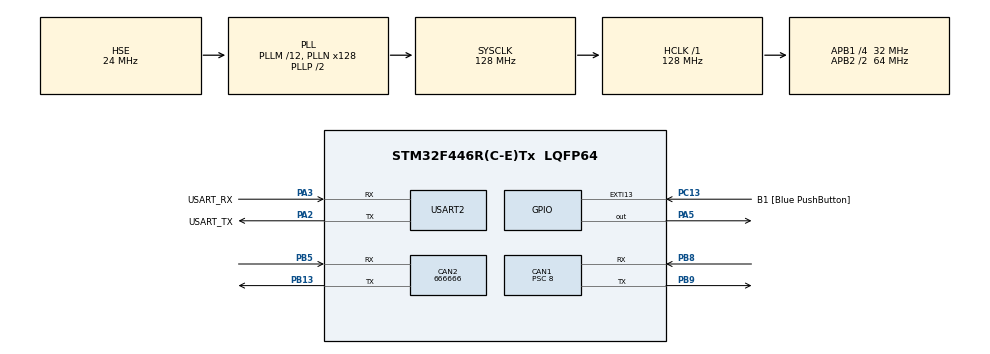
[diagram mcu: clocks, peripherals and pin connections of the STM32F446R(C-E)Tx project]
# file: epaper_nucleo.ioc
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CAN1.BS1=CAN_BS1_6TQ
CAN1.CalculateBaudRate=500000
CAN1.CalculateTimeBit=2000
CAN1.CalculateTimeQuantum=250.0
CAN1.Prescaler=8
CAN2.CalculateBaudRate=666666
CAN2.CalculateTimeBit=1500
CAN2.CalculateTimeQuantum=500.0
FREERTOS.Tasks01=epaperTask,0,1024,startEpaperTask,Default,NULL,Static,epaperTaskBuffer,epaperTaskControlBlock;idleTask,-3,128,StartIdleTask,Default,NULL,Static,idleTaskBuffer,idleTaskControlBlock;serviceGcan,0,1024,StartServiceGcan,Default,NULL,Static,serviceGcanBuffer,serviceGcanControlBlock
Mcu.Family=STM32F4
Mcu.Name=STM32F446R(C-E)Tx
Mcu.Package=LQFP64
NVIC.PriorityGroup=NVIC_PRIORITYGROUP_4
NVIC.TIM6_DAC_IRQn=true\:15\:0\:false\:false\:true\:false\:false\:true\:true
NVIC.TimeBase=TIM6_DAC_IRQn
NVIC.TimeBaseIP=TIM6
PA13.GPIO_Label=TMS
PA13.Mode=Serial_Wire
PA13.Signal=SYS_JTMS-SWDIO
PA14.GPIO_Label=TCK
PA14.Mode=Serial_Wire
PA14.Signal=SYS_JTCK-SWCLK
PA2.GPIO_Label=USART_TX
PA2.Mode=Asynchronous
PA2.Signal=USART2_TX
PA3.GPIO_Label=USART_RX
PA3.Mode=Asynchronous
PA3.Signal=USART2_RX
PA5.Signal=GPIO_Output
PB13.Mode=CAN_Activate
PB13.Signal=CAN2_TX
PB3.GPIO_Label=SWO
PB3.Signal=SYS_JTDO-SWO
PB5.Mode=CAN_Activate
PB5.Signal=CAN2_RX
PB8.Mode=CAN_Activate
PB8.Signal=CAN1_RX
PB9.Mode=CAN_Activate
PB9.Signal=CAN1_TX
PC13.GPIO_Label=B1 [Blue PushButton]
PC13.GPIO_ModeDefaultEXTI=GPIO_MODE_IT_FALLING
PC13.Signal=GPXTI13
PC14-OSC32_IN.Mode=LSE-External-Oscillator
PC14-OSC32_IN.Signal=RCC_OSC32_IN
PC15-OSC32_OUT.Mode=LSE-External-Oscillator
PC15-OSC32_OUT.Signal=RCC_OSC32_OUT
PH0-OSC_IN.Mode=HSE-External-Oscillator
PH0-OSC_IN.Signal=RCC_OSC_IN
PH1-OSC_OUT.Mode=HSE-External-Oscillator
PH1-OSC_OUT.Signal=RCC_OSC_OUT
ProjectManager.HeapSize=0x200
ProjectManager.StackSize=0x400
ProjectManager.TargetToolchain=CMake
RCC.48MHZClocksFreq_Value=84000000
RCC.AHBFreq_Value=128000000
RCC.APB1CLKDivider=RCC_HCLK_DIV4
RCC.APB1Freq_Value=32000000
RCC.APB1TimFreq_Value=64000000
RCC.APB2CLKDivider=RCC_HCLK_DIV2
RCC.APB2Freq_Value=64000000
RCC.APB2TimFreq_Value=128000000
RCC.CortexFreq_Value=128000000
RCC.FLatency-AdvancedSettings=FLASH_LATENCY_4
RCC.HCLKFreq_Value=128000000
RCC.HSE_VALUE=24000000
RCC.HSI_VALUE=16000000
RCC.PLLM=12
RCC.PLLN=128
RCC.PLLSourceVirtual=RCC_PLLSOURCE_HSE
RCC.SYSCLKFreq_VALUE=128000000
RCC.SYSCLKSource=RCC_SYSCLKSOURCE_PLLCLK
RCC.USBFreq_Value=128000000
RCC.VCOOutputFreq_Value=256000000
USART2.VirtualMode=VM_ASYNC
VP_FREERTOS_VS_CMSIS_V1.Mode=CMSIS_V1
VP_SYS_VS_tim6.Mode=TIM6
board=NUCLEO-F446RE

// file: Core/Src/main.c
/* USER CODE BEGIN Header */
/**
  ******************************************************************************
  * @file           : main.c
  * @brief          : Main program body
  ******************************************************************************
  * @attention
  *
  * Copyright (c) 2025 STMicroelectronics.
  * All rights reserved.
  *
  * This software is licensed under terms that can be found in the LICENSE file
  * in the root directory of this software component.
  * If no LICENSE file comes with this software, it is provided AS-IS.
  *
  ******************************************************************************
  */
/* USER CODE END Header */
#include "main.h"
#include "cmsis_os.h"

/* USER CODE BEGIN Includes */
#include "utils.h"
#include "epaper.h"
#include <stdio.h>
#include "GopherCAN.h"

/* USER CODE END Includes */

CAN_HandleTypeDef hcan1;
CAN_HandleTypeDef hcan2;

UART_HandleTypeDef huart2;

osThreadId epaperTaskHandle;
uint32_t epaperTaskBuffer[ 1024 ];
osStaticThreadDef_t epaperTaskControlBlock;
osThreadId idleTaskHandle;
uint32_t idleTaskBuffer[ 128 ];
osStaticThreadDef_t idleTaskControlBlock;
osThreadId serviceGcanHandle;
uint32_t serviceGcanBuffer[ 1024 ];
osStaticThreadDef_t serviceGcanControlBlock;

void SystemClock_Config(void);
static void MX_GPIO_Init(void);
static void MX_USART2_UART_Init(void);
static void MX_CAN2_Init(void);
static void MX_CAN1_Init(void);
void startEpaperTask(void const * argument);
void StartIdleTask(void const * argument);
void StartServiceGcan(void const * argument);

/* USER CODE BEGIN PFP */
// void HAL_SPI_TxCpltCallback(SPI_HandleTypeDef *hspi)
// {
// 	if (hspi == &hspi1)
// 	{
// 		BaseType_t xHigherPriorityTaskWoken = pdFALSE;
// 		xTaskNotifyFromISR(epaperTaskHandle, SPI_SUCCESS, eSetBits, &xHigherPriorityTaskWoken);
// 		portYIELD_FROM_ISR(xHigherPriorityTaskWoken);
// 	}
// }

#ifdef __GNUC__
#define PUTCHAR_PROTOTYPE int __io_putchar(int ch)
#define GETCHAR_PROTOTYPE int __io_getchar(void)
#else
#define PUTCHAR_PROTOTYPE int fputc(int ch, FILE *f)
#define GETCHAR_PROTOTYPE int fgetc(FILE *f)
#endif

PUTCHAR_PROTOTYPE
{
  HAL_UART_Transmit(&huart2, (uint8_t *)&ch, 1, HAL_MAX_DELAY);
  return ch;
}

GETCHAR_PROTOTYPE
{
  uint8_t ch = 0;

  /* Clear the Overrun flag just before receiving the first character */
  __HAL_UART_CLEAR_OREFLAG(&huart2);

  /* Wait for reception of a character on the USART RX line and echo this
   * character on console */
  HAL_UART_Receive(&huart2, (uint8_t *)&ch, 1, HAL_MAX_DELAY);
  HAL_UART_Transmit(&huart2, (uint8_t *)&ch, 1, HAL_MAX_DELAY);
  return ch;
}

/* USER CODE END PFP */

int main(void)
{

  /* MCU Configuration--------------------------------------------------------*/

  /* Reset of all peripherals, Initializes the Flash interface and the Systick. */
  HAL_Init();

  /* Configure the system clock */
  SystemClock_Config();

  /* USER CODE BEGIN SysInit */
__HAL_RCC_GPIOA_CLK_ENABLE();
GPIO_InitTypeDef g = {0};
g.Pin = GPIO_PIN_5; g.Mode = GPIO_MODE_OUTPUT_PP;
HAL_GPIO_Init(GPIOA, &g);
HAL_GPIO_WritePin(GPIOA, GPIO_PIN_5, GPIO_PIN_SET);
  /* USER CODE END SysInit */

  /* Initialize all configured peripherals */
  MX_GPIO_Init();
  MX_USART2_UART_Init();
  MX_CAN2_Init();
  MX_CAN1_Init();
  /* USER CODE BEGIN 2 */
  HAL_GPIO_WritePin(GPIOA, GPIO_PIN_5, GPIO_PIN_SET);   // LED on = CAN init finished
  init_can(&hcan1, GCAN1);

  /* USER CODE END 2 */

  /* Create the thread(s) */
  /* definition and creation of epaperTask */
  osThreadStaticDef(epaperTask, startEpaperTask, osPriorityNormal, 0, 1024, epaperTaskBuffer, &epaperTaskControlBlock);
  epaperTaskHandle = osThreadCreate(osThread(epaperTask), NULL);

  /* definition and creation of idleTask */
  osThreadStaticDef(idleTask, StartIdleTask, osPriorityIdle, 0, 128, idleTaskBuffer, &idleTaskControlBlock);
  idleTaskHandle = osThreadCreate(osThread(idleTask), NULL);

  /* definition and creation of serviceGcan */
  osThreadStaticDef(serviceGcan, StartServiceGcan, osPriorityNormal, 0, 1024, serviceGcanBuffer, &serviceGcanControlBlock);
  serviceGcanHandle = osThreadCreate(osThread(serviceGcan), NULL);

  /* Start scheduler */
  osKernelStart();

  /* We should never get here as control is now taken by the scheduler */

  /* Infinite loop */
  while (1)
  {

  }
}

void SystemClock_Config(void)
{
  RCC_OscInitTypeDef RCC_OscInitStruct = {0};
  RCC_ClkInitTypeDef RCC_ClkInitStruct = {0};

  /** Configure the main internal regulator output voltage
  */
  __HAL_RCC_PWR_CLK_ENABLE();
  __HAL_PWR_VOLTAGESCALING_CONFIG(PWR_REGULATOR_VOLTAGE_SCALE2);

  /** Initializes the RCC Oscillators according to the specified parameters
  * in the RCC_OscInitTypeDef structure.
  */
  RCC_OscInitStruct.OscillatorType = RCC_OSCILLATORTYPE_HSE;
  RCC_OscInitStruct.HSEState = RCC_HSE_ON;
  RCC_OscInitStruct.PLL.PLLState = RCC_PLL_ON;
  RCC_OscInitStruct.PLL.PLLSource = RCC_PLLSOURCE_HSE;
  RCC_OscInitStruct.PLL.PLLM = 12;
  RCC_OscInitStruct.PLL.PLLN = 128;
  RCC_OscInitStruct.PLL.PLLP = RCC_PLLP_DIV2;
  RCC_OscInitStruct.PLL.PLLQ = 2;
  RCC_OscInitStruct.PLL.PLLR = 2;
  if (HAL_RCC_OscConfig(&RCC_OscInitStruct) != HAL_OK)
  {
    Error_Handler();
  }

  /** Initializes the CPU, AHB and APB buses clocks
  */
  RCC_ClkInitStruct.ClockType = RCC_CLOCKTYPE_HCLK|RCC_CLOCKTYPE_SYSCLK
                              |RCC_CLOCKTYPE_PCLK1|RCC_CLOCKTYPE_PCLK2;
  RCC_ClkInitStruct.SYSCLKSource = RCC_SYSCLKSOURCE_PLLCLK;
  RCC_ClkInitStruct.AHBCLKDivider = RCC_SYSCLK_DIV1;
  RCC_ClkInitStruct.APB1CLKDivider = RCC_HCLK_DIV4;
  RCC_ClkInitStruct.APB2CLKDivider = RCC_HCLK_DIV2;

  if (HAL_RCC_ClockConfig(&RCC_ClkInitStruct, FLASH_LATENCY_4) != HAL_OK)
  {
    Error_Handler();
  }
}

static void MX_CAN1_Init(void)
{

  hcan1.Instance = CAN1;
  hcan1.Init.Prescaler = 8;
  hcan1.Init.Mode = CAN_MODE_NORMAL;
  hcan1.Init.SyncJumpWidth = CAN_SJW_1TQ;
  hcan1.Init.TimeSeg1 = CAN_BS1_6TQ;
  hcan1.Init.TimeSeg2 = CAN_BS2_1TQ;
  hcan1.Init.TimeTriggeredMode = DISABLE;
  hcan1.Init.AutoBusOff = DISABLE;
  hcan1.Init.AutoWakeUp = DISABLE;
  hcan1.Init.AutoRetransmission = DISABLE;
  hcan1.Init.ReceiveFifoLocked = DISABLE;
  hcan1.Init.TransmitFifoPriority = DISABLE;
  if (HAL_CAN_Init(&hcan1) != HAL_OK)
  {
    Error_Handler();
  }

}

static void MX_CAN2_Init(void)
{

  hcan2.Instance = CAN2;
  hcan2.Init.Prescaler = 16;
  hcan2.Init.Mode = CAN_MODE_NORMAL;
  hcan2.Init.SyncJumpWidth = CAN_SJW_1TQ;
  hcan2.Init.TimeSeg1 = CAN_BS1_1TQ;
  hcan2.Init.TimeSeg2 = CAN_BS2_1TQ;
  hcan2.Init.TimeTriggeredMode = DISABLE;
  hcan2.Init.AutoBusOff = DISABLE;
  hcan2.Init.AutoWakeUp = DISABLE;
  hcan2.Init.AutoRetransmission = DISABLE;
  hcan2.Init.ReceiveFifoLocked = DISABLE;
  hcan2.Init.TransmitFifoPriority = DISABLE;
  if (HAL_CAN_Init(&hcan2) != HAL_OK)
  {
    Error_Handler();
  }

}

static void MX_USART2_UART_Init(void)
{

  huart2.Instance = USART2;
  huart2.Init.BaudRate = 115200;
  huart2.Init.WordLength = UART_WORDLENGTH_8B;
  huart2.Init.StopBits = UART_STOPBITS_1;
  huart2.Init.Parity = UART_PARITY_NONE;
  huart2.Init.Mode = UART_MODE_TX_RX;
  huart2.Init.HwFlowCtl = UART_HWCONTROL_NONE;
  huart2.Init.OverSampling = UART_OVERSAMPLING_16;
  if (HAL_UART_Init(&huart2) != HAL_OK)
  {
    Error_Handler();
  }

}

static void MX_GPIO_Init(void)
{
  GPIO_InitTypeDef GPIO_InitStruct = {0};

  /* GPIO Ports Clock Enable */
  __HAL_RCC_GPIOC_CLK_ENABLE();
  __HAL_RCC_GPIOH_CLK_ENABLE();
  __HAL_RCC_GPIOA_CLK_ENABLE();
  __HAL_RCC_GPIOB_CLK_ENABLE();

  /*Configure GPIO pin Output Level */
  HAL_GPIO_WritePin(GPIOA, GPIO_PIN_5, GPIO_PIN_RESET);

  /*Configure GPIO pin : B1_Pin */
  GPIO_InitStruct.Pin = B1_Pin;
  GPIO_InitStruct.Mode = GPIO_MODE_IT_FALLING;
  GPIO_InitStruct.Pull = GPIO_NOPULL;
  HAL_GPIO_Init(B1_GPIO_Port, &GPIO_InitStruct);

  /*Configure GPIO pin : PA5 */
  GPIO_InitStruct.Pin = GPIO_PIN_5;
  GPIO_InitStruct.Mode = GPIO_MODE_OUTPUT_PP;
  GPIO_InitStruct.Pull = GPIO_NOPULL;
  GPIO_InitStruct.Speed = GPIO_SPEED_FREQ_LOW;
  HAL_GPIO_Init(GPIOA, &GPIO_InitStruct);

}

void startEpaperTask(void const * argument)
{
  /* USER CODE BEGIN 5 */
  // EPD_Init();
  // //osDelay(500);

  // EPD_TestPattern();
  // runEpaperTask();
  // /* Infinite loop */
  for(;;)
  {
    //printf("hi\n");
    osDelay(1000);
  }
  /* USER CODE END 5 */
}

void StartIdleTask(void const * argument)
{
  /* USER CODE BEGIN StartIdleTask */
  /* Infinite loop */
  for(;;)
  {
    static U32 t = 0;
    if (HAL_GetTick() - t >= 500) { t = HAL_GetTick(); HAL_GPIO_TogglePin(GPIOA, GPIO_PIN_5); }
    osDelay(1);
  }
  /* USER CODE END StartIdleTask */
}

void StartServiceGcan(void const * argument)
{
  /* USER CODE BEGIN StartServiceGcan */
  imd_configure(0x00);
  imd_configure(0x01);
  imd_configure(0x02);
  imd_configure(0x03);

  /* Infinite loop */
  for(;;)
  {
    service_can_tx(&hcan1);
    service_can_rx_buffer();
    osDelay(1);
  }
  /* USER CODE END StartServiceGcan */
}

void HAL_TIM_PeriodElapsedCallback(TIM_HandleTypeDef *htim)
{
  if (htim->Instance == TIM6)
  {
    HAL_IncTick();
  }
}

void Error_Handler(void)
{
  __disable_irq();
  while (1)
  {
  }
}

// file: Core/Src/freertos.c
/* USER CODE BEGIN Header */
/**
  ******************************************************************************
  * File Name          : freertos.c
  * Description        : Code for freertos applications
  ******************************************************************************
  * @attention
  *
  * Copyright (c) 2025 STMicroelectronics.
  * All rights reserved.
  *
  * This software is licensed under terms that can be found in the LICENSE file
  * in the root directory of this software component.
  * If no LICENSE file comes with this software, it is provided AS-IS.
  *
  ******************************************************************************
  */
/* USER CODE END Header */

#include "FreeRTOS.h"
#include "task.h"
#include "main.h"

/* GetIdleTaskMemory prototype (linked to static allocation support) */
void vApplicationGetIdleTaskMemory( StaticTask_t **ppxIdleTaskTCBBuffer, StackType_t **ppxIdleTaskStackBuffer, uint32_t *pulIdleTaskStackSize );

/* USER CODE BEGIN GET_IDLE_TASK_MEMORY */
static StaticTask_t xIdleTaskTCBBuffer;
static StackType_t xIdleStack[configMINIMAL_STACK_SIZE];

void vApplicationGetIdleTaskMemory( StaticTask_t **ppxIdleTaskTCBBuffer, StackType_t **ppxIdleTaskStackBuffer, uint32_t *pulIdleTaskStackSize )
{
  *ppxIdleTaskTCBBuffer = &xIdleTaskTCBBuffer;
  *ppxIdleTaskStackBuffer = &xIdleStack[0];
  *pulIdleTaskStackSize = configMINIMAL_STACK_SIZE;
  /* place for user code */
}
/* USER CODE END GET_IDLE_TASK_MEMORY */
